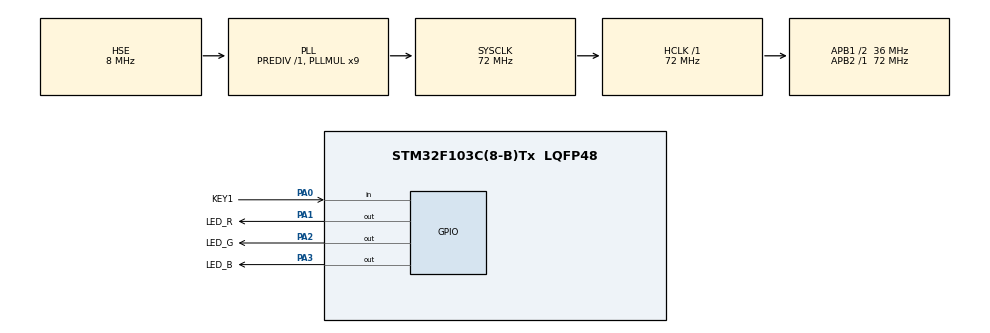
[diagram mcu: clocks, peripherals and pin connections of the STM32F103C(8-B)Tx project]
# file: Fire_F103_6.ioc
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Mcu.Family=STM32F1
Mcu.Name=STM32F103C(8-B)Tx
Mcu.Package=LQFP48
NVIC.PriorityGroup=NVIC_PRIORITYGROUP_4
NVIC.TIM1_UP_IRQn=true\:0\:0\:false\:false\:true\:true\:true\:true
PA0-WKUP.GPIO_Label=KEY1
PA0-WKUP.GPIO_PuPd=GPIO_PULLDOWN
PA0-WKUP.Signal=GPIO_Input
PA1.GPIO_Label=LED_R
PA1.PinState=GPIO_PIN_SET
PA1.Signal=GPIO_Output
PA13.Mode=Serial_Wire
PA13.Signal=SYS_JTMS-SWDIO
PA14.Mode=Serial_Wire
PA14.Signal=SYS_JTCK-SWCLK
PA2.GPIO_Label=LED_G
PA2.PinState=GPIO_PIN_SET
PA2.Signal=GPIO_Output
PA3.GPIO_Label=LED_B
PA3.PinState=GPIO_PIN_SET
PA3.Signal=GPIO_Output
PC14-OSC32_IN.Mode=LSE-External-Oscillator
PC14-OSC32_IN.Signal=RCC_OSC32_IN
PC15-OSC32_OUT.Mode=LSE-External-Oscillator
PC15-OSC32_OUT.Signal=RCC_OSC32_OUT
PD0-OSC_IN.Mode=HSE-External-Oscillator
PD0-OSC_IN.Signal=RCC_OSC_IN
PD1-OSC_OUT.Mode=HSE-External-Oscillator
PD1-OSC_OUT.Signal=RCC_OSC_OUT
ProjectManager.HeapSize=0x200
ProjectManager.StackSize=0x400
ProjectManager.TargetToolchain=MDK-ARM V5.32
RCC.AHBFreq_Value=72000000
RCC.APB1CLKDivider=RCC_HCLK_DIV2
RCC.APB1Freq_Value=36000000
RCC.APB1TimFreq_Value=72000000
RCC.APB2Freq_Value=72000000
RCC.APB2TimFreq_Value=72000000
RCC.HCLKFreq_Value=72000000
RCC.PLLMUL=RCC_PLL_MUL9
RCC.PLLSourceVirtual=RCC_PLLSOURCE_HSE
RCC.SYSCLKFreq_VALUE=72000000
RCC.SYSCLKSource=RCC_SYSCLKSOURCE_PLLCLK
RCC.USBFreq_Value=72000000
TIM1.Prescaler=7200-1
VP_TIM1_VS_ClockSourceINT.Mode=Internal
board=custom

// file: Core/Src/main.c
/* USER CODE BEGIN Header */
/**
  ******************************************************************************
  * @file           : main.c
  * @brief          : Main program body
  ******************************************************************************
  * @attention
  *
  * Copyright (c) 2026 STMicroelectronics.
  * All rights reserved.
  *
  * This software is licensed under terms that can be found in the LICENSE file
  * in the root directory of this software component.
  * If no LICENSE file comes with this software, it is provided AS-IS.
  *
  ******************************************************************************
  */
/* USER CODE END Header */
#include "main.h"
#include "tim.h"
#include "gpio.h"

/* USER CODE BEGIN Includes */
#include "bsp_led.h"//LED模块头文件
#include "bsp_key.h"//按键模块头文件
#include "app_data.h"//数据结构模块头文件
/* USER CODE END Includes */

/* USER CODE BEGIN PV */
volatile uint8_t timer_flag=0;//定时器中断标志位，这个变量会在定时器中断里被置1，主循环检测到它为1后，再去执行LED翻转等操作
uint32_t tim_arr[2]={1000-1,10000-1};//定时器两种自动重装值ARR

/* USER CODE END PV */

void SystemClock_Config(void);

int main(void)
{

  /* MCU Configuration--------------------------------------------------------*/

  /* Reset of all peripherals, Initializes the Flash interface and the Systick. */
  HAL_Init();

  /* Configure the system clock */
  SystemClock_Config();

  /* Initialize all configured peripherals */
  MX_GPIO_Init();
  MX_TIM1_Init();
  /* USER CODE BEGIN 2 */
HAL_TIM_Base_Start_IT(&htim1);//启动TIM1基础定时器中断

  /* USER CODE END 2 */

  /* Infinite loop */
  /* USER CODE BEGIN WHILE */
  while (1)
  {
		if(timer_flag)//如果定时器中断到了以后，就会把timer_flag置为1
		{
			timer_flag=0;//先清零标志位，表示本次定时器事件已经处理
			g_sensor_data.tick++;//节拍计数加一
			LED_ALL_Toogle();//翻转LED状态
		}
		if(Key1_IsPressed())//如果检测KEY1被按下
		{
			g_sensor_data.mode=!g_sensor_data.mode;//切换模式
			HAL_TIM_Base_Stop_IT(&htim1);//修改定时器ARR前，先关闭定时器中断
			__HAL_TIM_SET_AUTORELOAD(&htim1,tim_arr[g_sensor_data.mode]);//根据mode选择不同的ARR值，从而改变LED的闪烁速度
			__HAL_TIM_SET_COUNTER(&htim1,0);//把计数器清零，避免旧计数值影响新的定时周期
			HAL_TIM_Base_Start_IT(&htim1);//重新启动定时器中断
			while(Key1_IsPressed());//等待按键松开，防止下一次按下被重复识别很多次
		}

    /* USER CODE END WHILE */

  }
}

void SystemClock_Config(void)
{
  RCC_OscInitTypeDef RCC_OscInitStruct = {0};
  RCC_ClkInitTypeDef RCC_ClkInitStruct = {0};

  /** Initializes the RCC Oscillators according to the specified parameters
  * in the RCC_OscInitTypeDef structure.
  */
  RCC_OscInitStruct.OscillatorType = RCC_OSCILLATORTYPE_HSE;
  RCC_OscInitStruct.HSEState = RCC_HSE_ON;
  RCC_OscInitStruct.HSEPredivValue = RCC_HSE_PREDIV_DIV1;
  RCC_OscInitStruct.HSIState = RCC_HSI_ON;
  RCC_OscInitStruct.PLL.PLLState = RCC_PLL_ON;
  RCC_OscInitStruct.PLL.PLLSource = RCC_PLLSOURCE_HSE;
  RCC_OscInitStruct.PLL.PLLMUL = RCC_PLL_MUL9;
  if (HAL_RCC_OscConfig(&RCC_OscInitStruct) != HAL_OK)
  {
    Error_Handler();
  }

  /** Initializes the CPU, AHB and APB buses clocks
  */
  RCC_ClkInitStruct.ClockType = RCC_CLOCKTYPE_HCLK|RCC_CLOCKTYPE_SYSCLK
                              |RCC_CLOCKTYPE_PCLK1|RCC_CLOCKTYPE_PCLK2;
  RCC_ClkInitStruct.SYSCLKSource = RCC_SYSCLKSOURCE_PLLCLK;
  RCC_ClkInitStruct.AHBCLKDivider = RCC_SYSCLK_DIV1;
  RCC_ClkInitStruct.APB1CLKDivider = RCC_HCLK_DIV2;
  RCC_ClkInitStruct.APB2CLKDivider = RCC_HCLK_DIV1;

  if (HAL_RCC_ClockConfig(&RCC_ClkInitStruct, FLASH_LATENCY_2) != HAL_OK)
  {
    Error_Handler();
  }
}

/* USER CODE BEGIN 4 */
void HAL_TIM_PeriodElapsedCallback(TIM_HandleTypeDef*htim)
{
	if(htim->Instance==TIM1)//判断是不是TIM1触发的中断
	{
		timer_flag=1;
	}
}

/* USER CODE END 4 */

void Error_Handler(void)
{
  __disable_irq();
  while (1)
  {
  }
}
